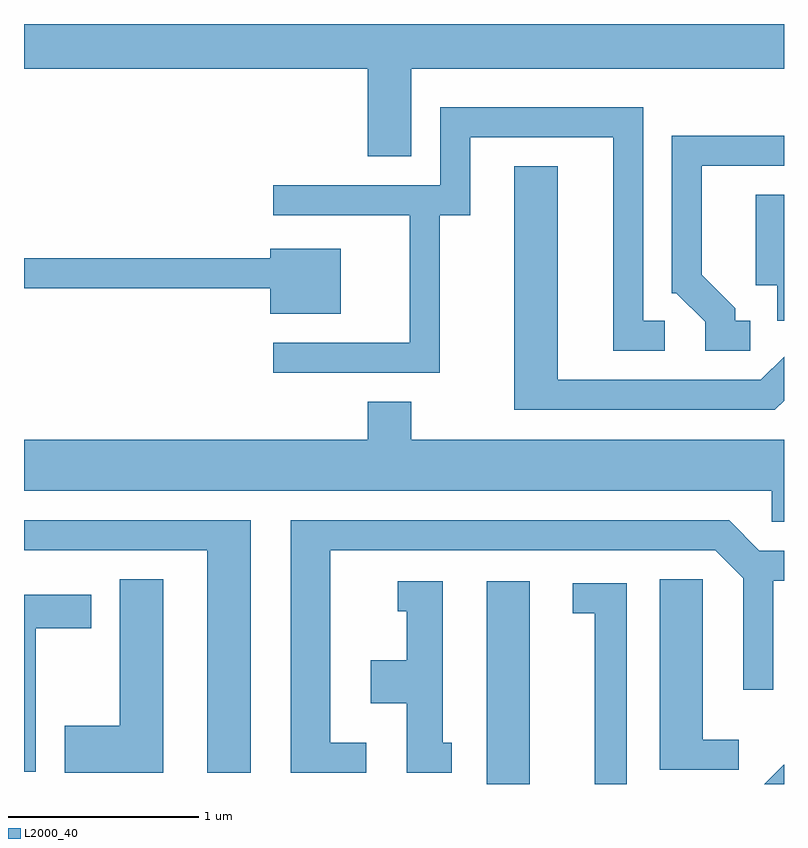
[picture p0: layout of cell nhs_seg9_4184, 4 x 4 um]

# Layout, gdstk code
import gdstk
lib = gdstk.Library(unit=1e-6, precision=1e-09)
def R(c, l, rs):  # rectangles x0, y0, x1, y1
    for r in rs: c.add(gdstk.rectangle(r[:2], r[2:], *l))
def P(c, l, *ps):  # polygons
    for p in ps: c.add(gdstk.Polygon(p, *l))
L2000_40 = (2000, 40)

nhs_seg9_4184 = lib.new_cell('nhs_seg9_4184')
R(nhs_seg9_4184, L2000_40, [(310.046,2052.432,310.274,2053.499)])
P(nhs_seg9_4184, L2000_40, [(309.649,2056.196),(311.611,2056.196),(311.611,2056.432),(307.611,2056.432),(307.611,2056.196),(309.421,2056.196),(309.421,2055.736),(309.649,2055.736)],
  [(309.799,2055.426),(309.959,2055.426),(309.959,2055.836),(310.711,2055.836),(310.711,2054.711),(310.983,2054.711),(310.983,2054.869),(310.869,2054.869),(310.869,2055.994),(309.801,2055.994),(309.801,2055.584),(308.923,2055.584),(308.923,2055.426),(309.641,2055.426),(309.641,2054.754),(308.923,2054.754),(308.923,2054.596),(309.799,2054.596)],
  [(311.433,2054.869),(311.354,2054.869),(311.354,2054.937),(311.179,2055.112),(311.179,2055.686),(311.611,2055.686),(311.611,2055.844),(311.021,2055.844),(311.021,2055.016),(311.044,2055.016),(311.196,2054.864),(311.196,2054.711),(311.433,2054.711)],
  [(311.611,2054.45),(311.611,2054.681),(311.489,2054.559),(310.419,2054.559),(310.419,2055.684),(310.191,2055.684),(310.191,2054.401),(311.562,2054.401)],
  [(311.611,2055.534),(311.461,2055.534),(311.461,2055.056),(311.576,2055.056),(311.576,2054.871),(311.611,2054.871)],
  [(309.279,2055.249),(308.906,2055.249),(308.906,2055.199),(307.611,2055.199),(307.611,2055.041),(308.906,2055.041),(308.906,2054.906),(309.279,2054.906)],
  [(311.611,2054.244),(309.649,2054.244),(309.649,2054.444),(309.421,2054.444),(309.421,2054.244),(307.611,2054.244),(307.611,2053.976),(311.546,2053.976),(311.546,2053.811),(311.611,2053.811)],
  [(308.804,2053.819),(307.611,2053.819),(307.611,2053.661),(308.576,2053.661),(308.576,2052.491),(308.804,2052.491)],
  [(309.413,2052.649),(309.224,2052.649),(309.224,2053.661),(311.249,2053.661),(311.396,2053.514),(311.396,2052.928),(311.554,2052.928),(311.554,2053.501),(311.611,2053.501),(311.611,2053.659),(311.482,2053.659),(311.322,2053.819),(309.016,2053.819),(309.016,2052.491),(309.413,2052.491)],
  [(308.344,2053.509),(308.116,2053.509),(308.116,2052.739),(307.826,2052.739),(307.826,2052.491),(308.344,2052.491)],
  [(311.373,2052.664),(311.184,2052.664),(311.184,2053.509),(310.956,2053.509),(310.956,2052.506),(311.373,2052.506)],
  [(309.863,2052.649),(309.814,2052.649),(309.814,2053.499),(309.578,2053.499),(309.578,2053.341),(309.626,2053.341),(309.626,2053.084),(309.436,2053.084),(309.436,2052.856),(309.626,2052.856),(309.626,2052.491),(309.863,2052.491)],
  [(310.784,2053.489),(310.498,2053.489),(310.498,2053.331),(310.616,2053.331),(310.616,2052.432),(310.784,2052.432)],
  [(307.674,2053.251),(307.964,2053.251),(307.964,2053.429),(307.611,2053.429),(307.611,2052.496),(307.674,2052.496)],
  [(311.611,2052.534),(311.609,2052.534),(311.507,2052.432),(311.611,2052.432)])

lib.write_gds('nhs_seg9_4184.gds')
